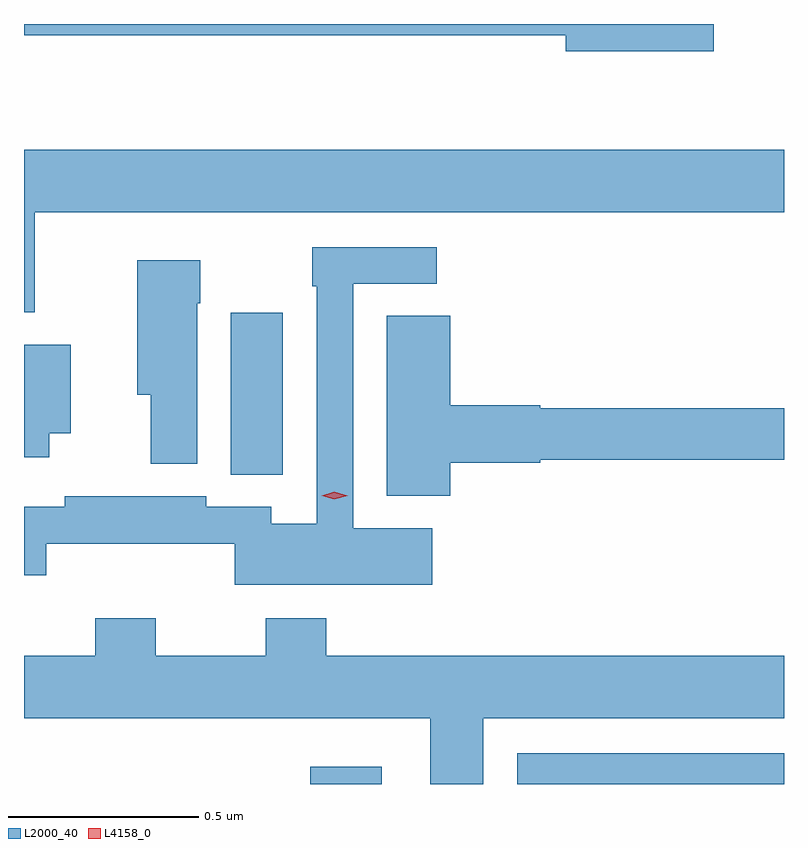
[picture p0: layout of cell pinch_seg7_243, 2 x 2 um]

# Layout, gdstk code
import gdstk
lib = gdstk.Library(unit=1e-6, precision=1e-09)
def R(c, l, rs):  # rectangles x0, y0, x1, y1
    for r in rs: c.add(gdstk.rectangle(r[:2], r[2:], *l))
def P(c, l, *ps):  # polygons
    for p in ps: c.add(gdstk.Polygon(p, *l))
L2000_40 = (2000, 40)
L4158_0 = (4158, 0)

pinch_seg7_243 = lib.new_cell('pinch_seg7_243')
R(pinch_seg7_243, L2000_40, [(846.433,1077.699,846.622,1077.745), (846.978,1077.699,847.68,1077.78), (846.224,1078.513,846.361,1078.939)])
P(pinch_seg7_243, L2000_40, [(847.495,1079.699),(845.68,1079.699),(845.68,1079.67),(847.106,1079.67),(847.106,1079.627),(847.495,1079.627)],
  [(845.708,1079.204),(847.68,1079.204),(847.68,1079.368),(845.68,1079.368),(845.68,1078.941),(845.708,1078.941)],
  [(846.754,1078.372),(846.546,1078.372),(846.546,1079.016),(846.766,1079.016),(846.766,1079.112),(846.438,1079.112),(846.438,1079.009),(846.45,1079.009),(846.45,1078.384),(846.33,1078.384),(846.33,1078.428),(846.159,1078.428),(846.159,1078.456),(845.787,1078.456),(845.787,1078.429),(845.68,1078.429),(845.68,1078.248),(845.738,1078.248),(845.738,1078.331),(846.234,1078.331),(846.234,1078.223),(846.754,1078.223)],
  [(846.136,1078.964),(846.144,1078.964),(846.144,1079.077),(845.978,1079.077),(845.978,1078.724),(846.014,1078.724),(846.014,1078.542),(846.136,1078.542)],
  [(846.802,1078.544),(847.038,1078.544),(847.038,1078.552),(847.68,1078.552),(847.68,1078.688),(847.038,1078.688),(847.038,1078.696),(846.802,1078.696),(846.802,1078.931),(846.635,1078.931),(846.635,1078.457),(846.802,1078.457)],
  [(845.746,1078.622),(845.803,1078.622),(845.803,1078.855),(845.68,1078.855),(845.68,1078.559),(845.746,1078.559)],
  [(845.867,1078.135),(845.867,1078.036),(845.68,1078.036),(845.68,1077.872),(846.749,1077.872),(846.749,1077.699),(846.889,1077.699),(846.889,1077.872),(847.68,1077.872),(847.68,1078.036),(846.476,1078.036),(846.476,1078.135),(846.316,1078.135),(846.316,1078.036),(846.027,1078.036),(846.027,1078.135)])
P(pinch_seg7_243, L4158_0, [(846.497,1078.448),(846.463,1078.458),(846.462,1078.458),(846.463,1078.458),(846.497,1078.468),(846.532,1078.457),(846.532,1078.457),(846.532,1078.457)])

lib.write_gds('pinch_seg7_243.gds')
